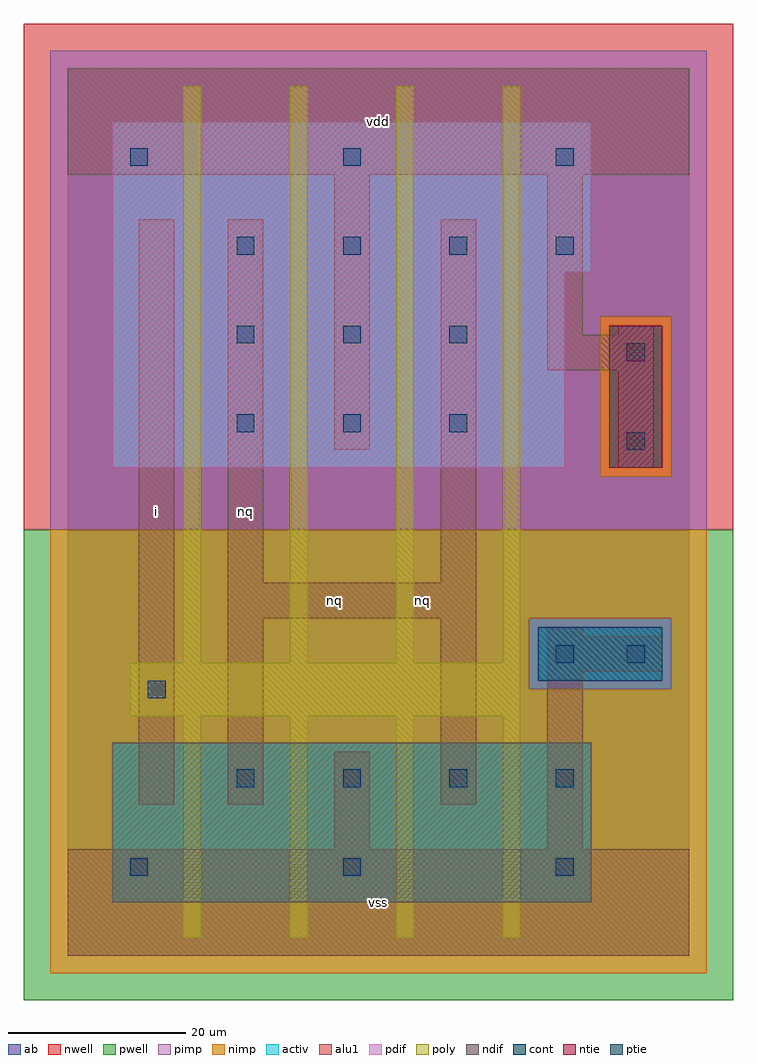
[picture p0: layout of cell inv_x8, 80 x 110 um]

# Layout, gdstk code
import gdstk
lib = gdstk.Library(unit=1e-6, precision=1e-09)
def R(c, l, rs):  # rectangles x0, y0, x1, y1
    for r in rs: c.add(gdstk.rectangle(r[:2], r[2:], *l))
def A(c, l, x, y, w, h, nx, ny, dx, dy):  # array of equal rectangles
    R(c, l, [(x+i*dx, y+j*dy, x+i*dx+w, y+j*dy+h) for i in range(nx) for j in range(ny)])
ndif = (3, 0)
pdif = (4, 0)
ntie = (5, 0)
ptie = (6, 0)
cont = (25, 0)
pwell = (41, 0)
nwell = (42, 0)
activ = (43, 0)
pimp = (44, 0)
nimp = (45, 0)
poly = (46, 0)
alu1 = (49, 0)
ab = (63, 0)

inv_x8 = lib.new_cell('inv_x8')
R(inv_x8, ndif, [(5,6,59,24)])
R(inv_x8, pdif, [(5,55,56,77), (5,77,59,94)])
R(inv_x8, ntie, [(61,55,67,71)])
R(inv_x8, ptie, [(53,31,67,37)])
A(inv_x8, cont, 7, 9, 2, 2, 3, 2, 24, 80)
A(inv_x8, cont, 19, 19, 2, 2, 4, 2, 12, 60)
A(inv_x8, cont, 19, 59, 2, 2, 3, 2, 12, 10)
R(inv_x8, cont, [(9,29,11,31), (55,33,57,35), (63,33,65,35), (63,57,65,59), (63,67,65,69)])
R(inv_x8, pwell, [(-5,-5,75,48)])
R(inv_x8, nwell, [(-5,48,75,105)])
R(inv_x8, activ, [(5,6,59,24), (53,31,67,37), (5,55,56,77), (61,55,67,71), (5,77,59,94)])
R(inv_x8, pimp, [(52,30,68,38), (-2,48,72,54), (-2,54,60,72), (68,54,72,72), (-2,72,72,102)])
R(inv_x8, nimp, [(-2,-2,72,30), (-2,30,52,38), (68,30,72,38), (-2,38,72,48), (60,54,68,72)])
A(inv_x8, poly, 13, 2, 2, 25, 4, 1, 12, 0)
A(inv_x8, poly, 13, 33, 2, 65, 4, 1, 12, 0)
R(inv_x8, poly, [(7,27,51,33)])
R(inv_x8, alu1, [(0,0,70,12), (30,12,34,23), (54,12,58,32), (8,17,12,83), (18,17,22,38), (42,17,46,38), (54,32,67,36), (54,36,58,37), (18,38,46,42), (18,42,22,83), (42,42,46,83), (62,55,66,66), (30,57,34,88), (54,66,66,70), (54,70,58,88), (62,70,66,71), (0,88,70,100)])
R(inv_x8, ab, [(0,0,70,100)])
inv_x8.add(gdstk.Label('i', (10,50), layer=49, texttype=0))
inv_x8.add(gdstk.Label('nq', (30,40), layer=49, texttype=0))
inv_x8.add(gdstk.Label('nq', (20,50), layer=49, texttype=0))
inv_x8.add(gdstk.Label('vss', (35,6), layer=49, texttype=0))
inv_x8.add(gdstk.Label('nq', (40,40), layer=49, texttype=0))
inv_x8.add(gdstk.Label('vdd', (35,94), layer=49, texttype=0))

lib.write_gds('inv_x8.gds')
